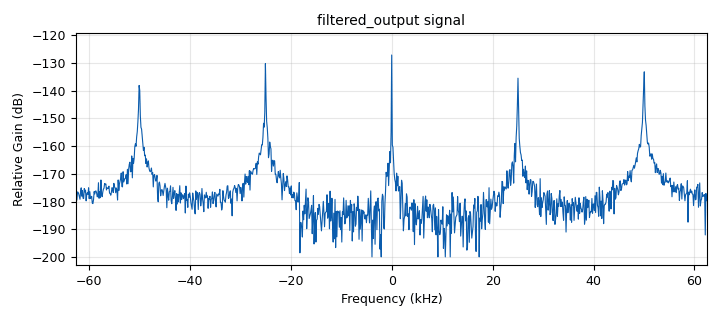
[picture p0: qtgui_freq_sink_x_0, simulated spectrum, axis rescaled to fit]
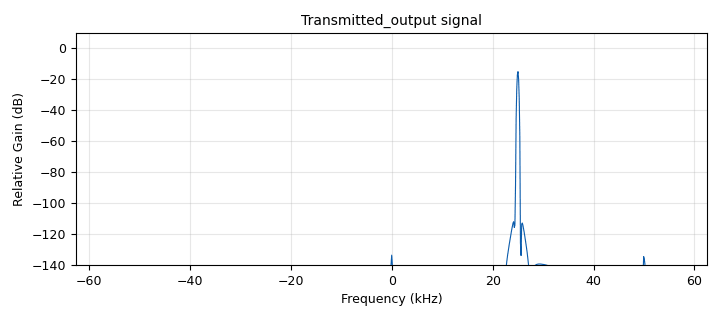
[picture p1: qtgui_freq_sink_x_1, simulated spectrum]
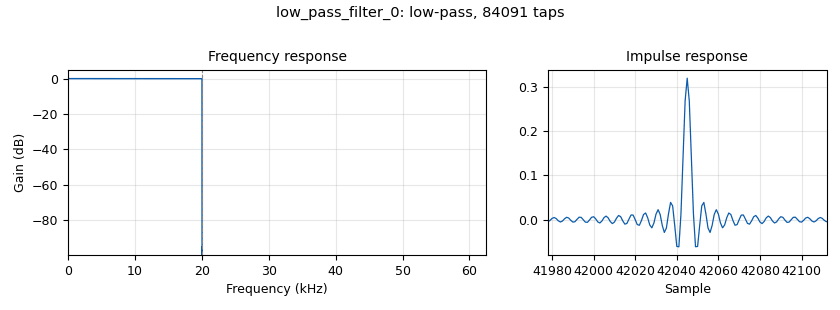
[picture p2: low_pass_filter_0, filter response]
<?xml version='1.0' encoding='utf-8'?>
<?grc format='1' created='3.7.13'?>
<flow_graph>
<block>
<key>options</key>
<param><key>id</key><value>top_block</value></param>
<param><key>generate_options</key><value>qt_gui</value></param>
</block>
<block>
<key>variable</key>
<param><key>id</key><value>samp_rate</value></param>
<param><key>value</key><value>125e3</value></param>
</block>
<block>
<key>analog_sig_source_x</key>
<param><key>id</key><value>analog_sig_source_x_0</value></param>
<param><key>amp</key><value>0.5</value></param>
<param><key>freq</key><value>25e3</value></param>
<param><key>offset</key><value>0</value></param>
<param><key>type</key><value>complex</value></param>
<param><key>samp_rate</key><value>samp_rate</value></param>
<param><key>waveform</key><value>analog.GR_COS_WAVE</value></param>
</block>
<block>
<key>low_pass_filter</key>
<param><key>id</key><value>low_pass_filter_0</value></param>
<param><key>cutoff_freq</key><value>20e3</value></param>
<param><key>decim</key><value>1</value></param>
<param><key>type</key><value>fir_filter_ccf</value></param>
<param><key>gain</key><value>1</value></param>
<param><key>samp_rate</key><value>samp_rate</value></param>
<param><key>width</key><value>5</value></param>
<param><key>win</key><value>firdes.WIN_BLACKMAN</value></param>
</block>
<block>
<key>qtgui_freq_sink_x</key>
<param><key>id</key><value>qtgui_freq_sink_x_0</value></param>
<param><key>bw</key><value>samp_rate</value></param>
<param><key>fc</key><value>0</value></param>
<param><key>fftsize</key><value>1024</value></param>
<param><key>name</key><value>"filtered_output signal"</value></param>
<param><key>showports</key><value>True</value></param>
<param><key>type</key><value>complex</value></param>
<param><key>wintype</key><value>firdes.WIN_RECTANGULAR</value></param>
</block>
<block>
<key>qtgui_freq_sink_x</key>
<param><key>id</key><value>qtgui_freq_sink_x_1</value></param>
<param><key>bw</key><value>samp_rate</value></param>
<param><key>fc</key><value>0</value></param>
<param><key>fftsize</key><value>1024</value></param>
<param><key>name</key><value>"Transmitted_output signal"</value></param>
<param><key>showports</key><value>True</value></param>
<param><key>type</key><value>complex</value></param>
<param><key>wintype</key><value>firdes.WIN_BLACKMAN_hARRIS</value></param>
</block>
<block>
<key>uhd_usrp_sink</key>
<param><key>id</key><value>uhd_usrp_sink_0</value></param>
<param><key>ant0</key><value>TX/RX</value></param>
<param><key>bw0</key><value>100e3</value></param>
<param><key>center_freq0</key><value>2.4e9</value></param>
<param><key>norm_gain0</key><value>False</value></param>
<param><key>gain0</key><value>20</value></param>
<param><key>clock_rate</key><value>0.0</value></param>
<param><key>dev_args</key><value>""</value></param>
<param><key>_enabled</key><value>0</value></param>
<param><key>type</key><value>fc32</value></param>
<param><key>samp_rate</key><value>samp_rate</value></param>
<param><key>hide_cmd_port</key><value>False</value></param>
<param><key>hide_lo_controls</key><value>True</value></param>
<param><key>sync</key><value></value></param>
<param><key>len_tag_name</key><value></value></param>
</block>
<block>
<key>uhd_usrp_source</key>
<param><key>id</key><value>uhd_usrp_source_0</value></param>
<param><key>ant0</key><value>RX2</value></param>
<param><key>bw0</key><value>100e3</value></param>
<param><key>center_freq0</key><value>2.4e9</value></param>
<param><key>dc_offs_enb0</key><value>""</value></param>
<param><key>iq_imbal_enb0</key><value>""</value></param>
<param><key>norm_gain0</key><value>False</value></param>
<param><key>gain0</key><value>20</value></param>
<param><key>clock_rate</key><value>0.0</value></param>
<param><key>dev_args</key><value>""</value></param>
<param><key>_enabled</key><value>0</value></param>
<param><key>type</key><value>fc32</value></param>
<param><key>samp_rate</key><value>samp_rate</value></param>
<param><key>hide_cmd_port</key><value>False</value></param>
<param><key>hide_lo_controls</key><value>True</value></param>
<param><key>sync</key><value></value></param>
</block>
<connection><source_block_id>analog_sig_source_x_0</source_block_id><sink_block_id>low_pass_filter_0</sink_block_id><source_key>0</source_key><sink_key>0</sink_key></connection>
<connection><source_block_id>analog_sig_source_x_0</source_block_id><sink_block_id>qtgui_freq_sink_x_1</sink_block_id><source_key>0</source_key><sink_key>0</sink_key></connection>
<connection><source_block_id>analog_sig_source_x_0</source_block_id><sink_block_id>uhd_usrp_sink_0</sink_block_id><source_key>0</source_key><sink_key>0</sink_key></connection>
<connection><source_block_id>low_pass_filter_0</source_block_id><sink_block_id>qtgui_freq_sink_x_0</sink_block_id><source_key>0</source_key><sink_key>0</sink_key></connection>
<connection><source_block_id>uhd_usrp_source_0</source_block_id><sink_block_id>low_pass_filter_0</sink_block_id><source_key>0</source_key><sink_key>0</sink_key></connection>
</flow_graph>
